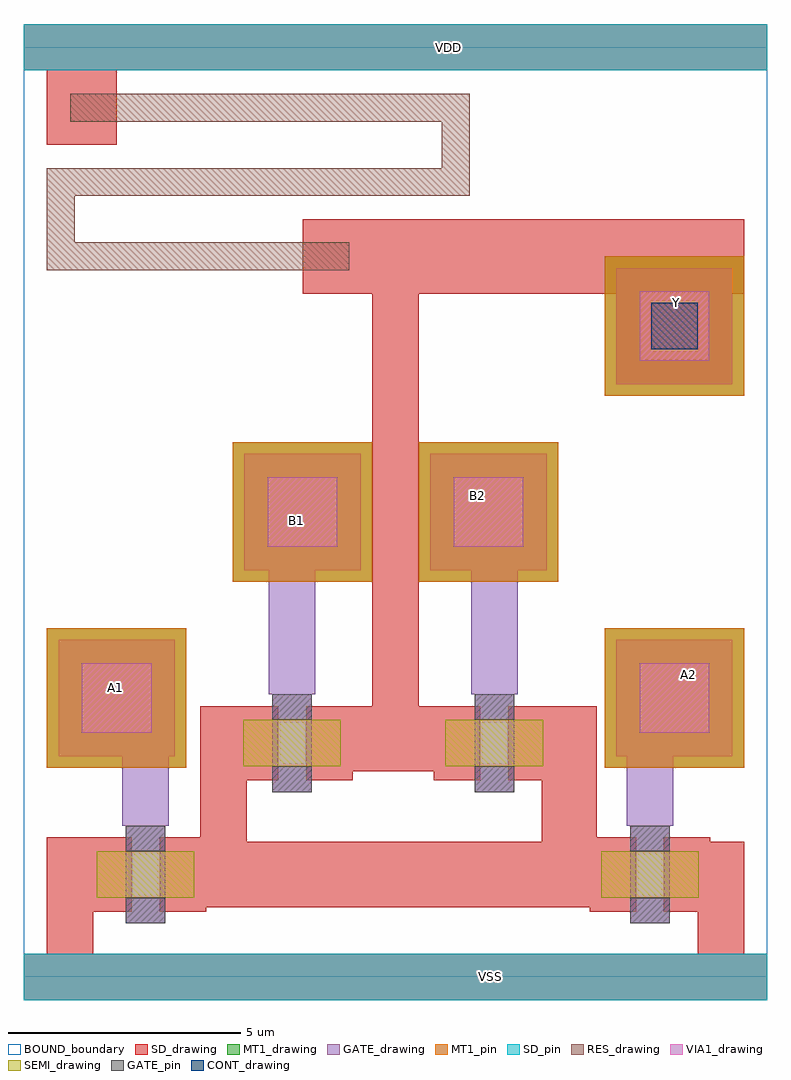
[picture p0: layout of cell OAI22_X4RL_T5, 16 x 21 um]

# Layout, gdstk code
from math import pi, radians
import gdstk
lib = gdstk.Library(unit=1e-6, precision=1e-09)
def R(c, l, rs):  # rectangles x0, y0, x1, y1
    for r in rs: c.add(gdstk.rectangle(r[:2], r[2:], *l))
def P(c, l, *ps):  # polygons
    for p in ps: c.add(gdstk.Polygon(p, *l))
RES_drawing = (1, 0)
SEMI_drawing = (3, 0)
SD_drawing = (10, 0)
SD_pin = (10, 3)
GATE_drawing = (11, 0)
GATE_pin = (11, 3)
MT1_drawing = (20, 0)
MT1_pin = (20, 3)
CONT_drawing = (30, 0)
VIA1_drawing = (41, 0)
BOUND_boundary = (150, 5)

nch_cdns_772545112410 = lib.new_cell('nch_CDNS_772545112410')
R(nch_cdns_772545112410, SEMI_drawing, [(-1.05,-0.5,1.05,0.5)])
R(nch_cdns_772545112410, SD_drawing, [(-1.3,-0.8,-0.3,0.8), (0.3,-0.8,1.3,0.8)])
R(nch_cdns_772545112410, GATE_drawing, [(-0.425,-1.05,0.425,1.05)])
R(nch_cdns_772545112410, GATE_pin, [(-0.425,-1.05,0.425,-0.5), (-0.425,0.5,0.425,1.05)])

gate_mt1_cdns_7725451124 = lib.new_cell('GATE_MT1_CDNS_772545112410')
R(gate_mt1_cdns_7725451124, GATE_drawing, [(-1.25,-1.25,1.25,1.25)])
R(gate_mt1_cdns_7725451124, MT1_drawing, [(-1.25,-1.25,1.25,1.25)])
R(gate_mt1_cdns_7725451124, VIA1_drawing, [(-0.75,-0.75,0.75,0.75)])

sd_gate_cdns_77254511241 = lib.new_cell('SD_GATE_CDNS_772545112411')
R(sd_gate_cdns_77254511241, SD_drawing, [(-1.25,-1.25,1.25,1.25)])
R(sd_gate_cdns_77254511241, GATE_drawing, [(-1.25,-1.25,1.25,1.25)])
R(sd_gate_cdns_77254511241, CONT_drawing, [(-0.5,-0.5,0.5,0.5)])

oai22_x4rl_t5 = lib.new_cell('OAI22_X4RL_T5')
R(oai22_x4rl_t5, SD_drawing, [(0,-0.5,16,0.5), (0.5,0.5,1.5,3), (14.5,0.5,15.5,2.9), (3.8,2.9,4.8,5.825), (11.15,2.9,12.325,5.825), (7.5,4.425,8.5,14.7), (6,14.7,7.5,16.3), (0.5,17.9,2,19.5), (0,19.5,16,20.5)])
R(oai22_x4rl_t5, SD_pin, [(0,-0.5,16,0.5), (0,19.5,16,20.5)])
R(oai22_x4rl_t5, GATE_drawing, [(5.275,6.175,6.275,8.75)])
P(oai22_x4rl_t5, GATE_drawing, [(13.975,3.35),(12.975,3.35),(12.975,3.25),(13.1,3.25),(13.1,3.2),(13.85,3.2),(13.85,3.25),(13.975,3.25)],
  [(10.625,6.175),(9.625,6.175),(9.625,6.075),(9.75,6.075),(9.75,6.025),(10.5,6.025),(10.5,6.075),(10.625,6.075)],
  [(6.275,6.175),(5.275,6.175),(5.275,6.075),(5.4,6.075),(5.4,6.025),(6.15,6.025),(6.15,6.075),(6.275,6.075)],
  [(3.125,3.35),(2.125,3.35),(2.125,3.25),(2.25,3.25),(2.25,3.2),(3,3.2),(3,3.25),(3.125,3.25)])
R(oai22_x4rl_t5, MT1_drawing, [(0.5,4.5,3.5,7.5), (12.5,4.5,15.5,7.5), (4.5,8.5,7.5,11.5), (8.5,8.5,11.5,11.5), (12.5,12.5,15.5,15.5)])
R(oai22_x4rl_t5, MT1_pin, [(0.5,4.5,3.5,7.5), (12.5,4.5,15.5,7.5), (4.5,8.5,7.5,11.5), (8.5,8.5,11.5,11.5), (12.5,12.5,15.5,15.5)])
R(oai22_x4rl_t5, BOUND_boundary, [(0,0,16,20)])
oai22_x4rl_t5.add(gdstk.FlexPath([(10.125,6.175),(10.125,8.75)], 1, ends="flush", simple_path=True, layer=11, datatype=0))  # GATE_drawing
oai22_x4rl_t5.add(gdstk.FlexPath([(13.475,3.35),(13.475,4.75)], 1, ends="flush", simple_path=True, layer=11, datatype=0))  # GATE_drawing
oai22_x4rl_t5.add(gdstk.FlexPath([(2.625,3.35),(2.625,4.75)], 1, ends="flush", simple_path=True, layer=11, datatype=0))  # GATE_drawing
oai22_x4rl_t5.add(gdstk.FlexPath([(7.5,15.5),(15.5,15.5)], 1.6, ends="flush", simple_path=True, layer=10, datatype=0))  # SD_drawing
oai22_x4rl_t5.add(gdstk.FlexPath([(7.075,5.125),(8.825,5.125)], 1.4, ends="flush", simple_path=True, layer=10, datatype=0))  # SD_drawing
oai22_x4rl_t5.add(gdstk.FlexPath([(3.925,2.2),(12.175,2.2)], 1.4, ends="flush", simple_path=True, layer=10, datatype=0))  # SD_drawing
oai22_x4rl_t5.add(gdstk.FlexPath([(2,18.7),(9.3,18.7),(9.3,17.1),(0.8,17.1),(0.8,15.5),(6,15.5)], 0.6, ends=(1, 1), simple_path=True, layer=1, datatype=0))  # RES_drawing
oai22_x4rl_t5.add(gdstk.Reference(nch_cdns_772545112410, (10.125,5.025), rotation=pi))
oai22_x4rl_t5.add(gdstk.Reference(nch_cdns_772545112410, (13.475,2.2), rotation=pi))
oai22_x4rl_t5.add(gdstk.Reference(nch_cdns_772545112410, (2.625,2.2)))
oai22_x4rl_t5.add(gdstk.Reference(nch_cdns_772545112410, (5.775,5.025)))
oai22_x4rl_t5.add(gdstk.Reference(gate_mt1_cdns_7725451124, (2,6)))
oai22_x4rl_t5.add(gdstk.Reference(gate_mt1_cdns_7725451124, (6,10)))
oai22_x4rl_t5.add(gdstk.Reference(gate_mt1_cdns_7725451124, (14,14)))
oai22_x4rl_t5.add(gdstk.Reference(gate_mt1_cdns_7725451124, (14,6)))
oai22_x4rl_t5.add(gdstk.Reference(gate_mt1_cdns_7725451124, (10,10)))
oai22_x4rl_t5.add(gdstk.Reference(sd_gate_cdns_77254511241, (14,14)))
oai22_x4rl_t5.add(gdstk.Label('VDD', (9.15,20), layer=10, texttype=3))
oai22_x4rl_t5.add(gdstk.Label('VSS', (10.05,0), layer=10, texttype=3))
oai22_x4rl_t5.add(gdstk.Label('Y', (14.05,14.5), layer=20, texttype=3))
oai22_x4rl_t5.add(gdstk.Label('B2', (9.775,10.35), layer=20, texttype=3))
oai22_x4rl_t5.add(gdstk.Label('B1', (5.875,9.825), layer=20, texttype=3))
oai22_x4rl_t5.add(gdstk.Label('A2', (14.3,6.5), layer=20, texttype=3))
oai22_x4rl_t5.add(gdstk.Label('A1', (1.975,6.225), layer=20, texttype=3))

lib.write_gds('OAI22_X4RL_T5.gds')
